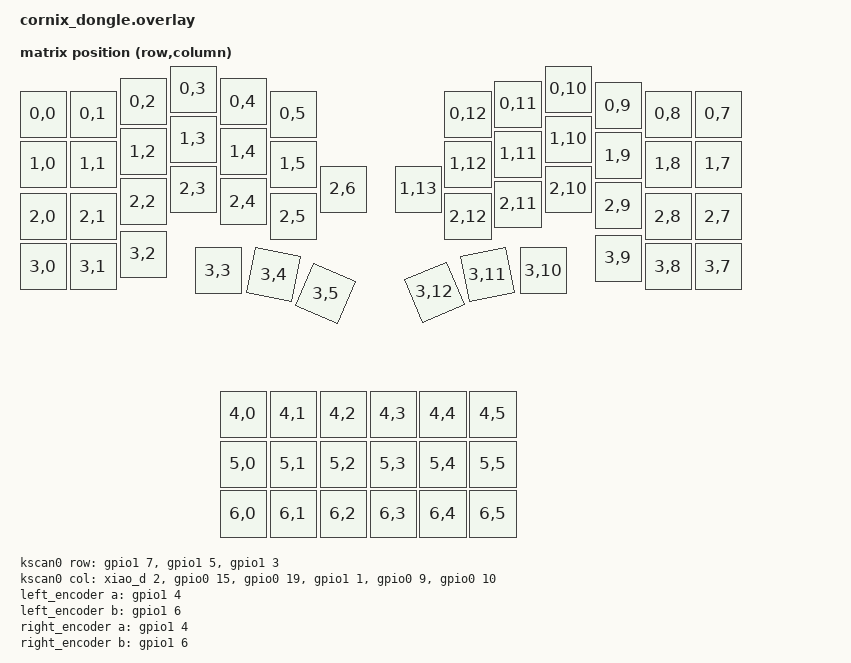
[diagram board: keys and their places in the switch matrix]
/*
 * Cornix dongle (XIAO nRF52840) central overlay.
 *
 * The dongle is the BLE split central and ALSO has 18 physical keys
 * (3 rows x 6 cols). The two cornix halves are peripherals that report
 * keymap positions 0..49 (via the cornix board transform). This central
 * transform reproduces those 50 positions AND appends the 18 dongle keys
 * at positions 50..67 by scanning the local matrix with row-offset = 4.
 */

#include <dt-bindings/zmk/matrix_transform.h>
#include <physical_layouts.dtsi>

/ {
    chosen {
        zmk,kscan = &kscan0;
        zmk,physical-layout = &cornix_dongle_layout;
    };

    /* Dongle local 3x6 matrix. diode-direction col2row:
     *   columns are driven (outputs), rows are read (inputs, pull-down). */
    kscan0: kscan0 {
        compatible = "zmk,kscan-gpio-matrix";
        wakeup-source;
        diode-direction = "col2row";

        col-gpios
            = <&xiao_d  2 GPIO_ACTIVE_HIGH>   /* col0  D2    P0.28 */
            , <&gpio0  15 GPIO_ACTIVE_HIGH>   /* col1  P0.15       */
            , <&gpio0  19 GPIO_ACTIVE_HIGH>   /* col2  P0.19       */
            , <&gpio1   1 GPIO_ACTIVE_HIGH>   /* col3  P1.01       */
            , <&gpio0   9 GPIO_ACTIVE_HIGH>   /* col4  P0.09 (NFC1)*/
            , <&gpio0  10 GPIO_ACTIVE_HIGH>   /* col5  P0.10 (NFC2)*/
            ;

        row-gpios
            = <&gpio1   7 (GPIO_ACTIVE_HIGH | GPIO_PULL_DOWN)>  /* row0  P1.07 */
            , <&gpio1   5 (GPIO_ACTIVE_HIGH | GPIO_PULL_DOWN)>  /* row1  P1.05 */
            , <&gpio1   3 (GPIO_ACTIVE_HIGH | GPIO_PULL_DOWN)>  /* row2  P1.03 */
            ;
    };

    default_transform: keymap_transform {
        compatible = "zmk,matrix-transform";
        columns = <14>;
        rows = <7>;
        /* Dongle kscan reports rows 0..2; shift to rows 4..6 so its keys land
         * "below" the cornix halves at positions 50..67. */
        row-offset = <4>;

        map = <
//  ── cornix split halves : positions 0..49 (reported by peripherals) ──
RC(0,0) RC(0,1) RC(0,2) RC(0,3) RC(0,4) RC(0,5)                    RC(0,12) RC(0,11) RC(0,10) RC(0,9) RC(0,8) RC(0,7)
RC(1,0) RC(1,1) RC(1,2) RC(1,3) RC(1,4) RC(1,5)                    RC(1,12) RC(1,11) RC(1,10) RC(1,9) RC(1,8) RC(1,7)
RC(2,0) RC(2,1) RC(2,2) RC(2,3) RC(2,4) RC(2,5) RC(2,6)  RC(1,13)  RC(2,12) RC(2,11) RC(2,10) RC(2,9) RC(2,8) RC(2,7)
RC(3,0) RC(3,1) RC(3,2) RC(3,3) RC(3,4) RC(3,5)                    RC(3,12) RC(3,11) RC(3,10) RC(3,9) RC(3,8) RC(3,7)
//  ── dongle local 3x6 : positions 50..67 (scanned by this central) ──
RC(4,0) RC(4,1) RC(4,2) RC(4,3) RC(4,4) RC(4,5)
RC(5,0) RC(5,1) RC(5,2) RC(5,3) RC(5,4) RC(5,5)
RC(6,0) RC(6,1) RC(6,2) RC(6,3) RC(6,4) RC(6,5)
        >;
    };

    cornix_dongle_layout: cornix_dongle_layout {
        compatible = "zmk,physical-layout";
        display-name = "Cornix+Dongle";
        transform = <&default_transform>;

        keys  //                     w   h    x    y     rot    rx    ry
            // cornix halves (0..49) - copied from cornix layout_50
            = <&key_physical_attrs 100 100    0   50       0     0     0>
            , <&key_physical_attrs 100 100  100   50       0     0     0>
            , <&key_physical_attrs 100 100  200   25       0     0     0>
            , <&key_physical_attrs 100 100  300    0       0     0     0>
            , <&key_physical_attrs 100 100  400   25       0     0     0>
            , <&key_physical_attrs 100 100  500   50       0     0     0>
            , <&key_physical_attrs 100 100  850   50       0     0     0>
            , <&key_physical_attrs 100 100  950   30       0     0     0>
            , <&key_physical_attrs 100 100 1050    0       0     0     0>
            , <&key_physical_attrs 100 100 1150   33       0     0     0>
            , <&key_physical_attrs 100 100 1250   50       0     0     0>
            , <&key_physical_attrs 100 100 1350   50       0     0     0>
            , <&key_physical_attrs 100 100    0  150       0     0     0>
            , <&key_physical_attrs 100 100  100  150       0     0     0>
            , <&key_physical_attrs 100 100  200  125       0     0     0>
            , <&key_physical_attrs 100 100  300  100       0     0     0>
            , <&key_physical_attrs 100 100  400  125       0     0     0>
            , <&key_physical_attrs 100 100  500  150       0     0     0>
            , <&key_physical_attrs 100 100  850  150       0     0     0>
            , <&key_physical_attrs 100 100  950  130       0     0     0>
            , <&key_physical_attrs 100 100 1050  100       0     0     0>
            , <&key_physical_attrs 100 100 1150  133       0     0     0>
            , <&key_physical_attrs 100 100 1250  150       0     0     0>
            , <&key_physical_attrs 100 100 1350  150       0     0     0>
            , <&key_physical_attrs 100 100    0  255       0     0     0>
            , <&key_physical_attrs 100 100  100  255       0     0     0>
            , <&key_physical_attrs 100 100  200  225       0     0     0>
            , <&key_physical_attrs 100 100  300  200       0     0     0>
            , <&key_physical_attrs 100 100  400  225       0     0     0>
            , <&key_physical_attrs 100 100  500  255       0     0     0>
            , <&key_physical_attrs 100 100  600  200       0     0     0>
            , <&key_physical_attrs 100 100  750  200       0     0     0>
            , <&key_physical_attrs 100 100  850  255       0     0     0>
            , <&key_physical_attrs 100 100  950  230       0     0     0>
            , <&key_physical_attrs 100 100 1050  200       0     0     0>
            , <&key_physical_attrs 100 100 1150  233       0     0     0>
            , <&key_physical_attrs 100 100 1250  255       0     0     0>
            , <&key_physical_attrs 100 100 1350  255       0     0     0>
            , <&key_physical_attrs 100 100    0  355       0     0     0>
            , <&key_physical_attrs 100 100  100  355       0     0     0>
            , <&key_physical_attrs 100 100  200  330       0     0     0>
            , <&key_physical_attrs 100 100  350  363       0     0     0>
            , <&key_physical_attrs 100 100  450  370    1193   500   475>
            , <&key_physical_attrs 100 100  550  365    2300   500   475>
            , <&key_physical_attrs 100 100  764  538 (-2300)   500   475>
            , <&key_physical_attrs 100 100  900  375 (-1193)   925   475>
            , <&key_physical_attrs 100 100 1000  363       0     0     0>
            , <&key_physical_attrs 100 100 1150  338       0     0     0>
            , <&key_physical_attrs 100 100 1250  355       0     0     0>
            , <&key_physical_attrs 100 100 1350  355       0     0     0>
            // dongle 3x6 grid (50..67), placed below the cornix
            , <&key_physical_attrs 100 100  400  650       0     0     0>
            , <&key_physical_attrs 100 100  500  650       0     0     0>
            , <&key_physical_attrs 100 100  600  650       0     0     0>
            , <&key_physical_attrs 100 100  700  650       0     0     0>
            , <&key_physical_attrs 100 100  800  650       0     0     0>
            , <&key_physical_attrs 100 100  900  650       0     0     0>
            , <&key_physical_attrs 100 100  400  750       0     0     0>
            , <&key_physical_attrs 100 100  500  750       0     0     0>
            , <&key_physical_attrs 100 100  600  750       0     0     0>
            , <&key_physical_attrs 100 100  700  750       0     0     0>
            , <&key_physical_attrs 100 100  800  750       0     0     0>
            , <&key_physical_attrs 100 100  900  750       0     0     0>
            , <&key_physical_attrs 100 100  400  850       0     0     0>
            , <&key_physical_attrs 100 100  500  850       0     0     0>
            , <&key_physical_attrs 100 100  600  850       0     0     0>
            , <&key_physical_attrs 100 100  700  850       0     0     0>
            , <&key_physical_attrs 100 100  800  850       0     0     0>
            , <&key_physical_attrs 100 100  900  850       0     0     0>
            ;
    };

    /*
     * Encoder sensors live on the cornix halves (peripherals). The central
     * must declare the same 2-sensor keymap-sensors list so that peripheral
     * sensor events map to sensor-bindings index 0 (left) and 1 (right).
     * These nodes are disabled here (the central does not scan them).
     */
    left_encoder: left_encoder {
        compatible = "alps,ec11";
        a-gpios = <&gpio1 4 (GPIO_ACTIVE_HIGH | GPIO_PULL_UP)>;
        b-gpios = <&gpio1 6 (GPIO_ACTIVE_HIGH | GPIO_PULL_UP)>;
        steps = <80>;
        status = "disabled";
    };

    right_encoder: right_encoder {
        compatible = "alps,ec11";
        a-gpios = <&gpio1 4 (GPIO_ACTIVE_HIGH | GPIO_PULL_UP)>;
        b-gpios = <&gpio1 6 (GPIO_ACTIVE_HIGH | GPIO_PULL_UP)>;
        steps = <80>;
        status = "disabled";
    };

    sensors: sensors {
        compatible = "zmk,keymap-sensors";
        sensors = <&left_encoder &right_encoder>;
        triggers-per-rotation = <20>;
    };
};

/* P0.09 / P0.10 are the nRF52840 NFC pins; free them for GPIO matrix use. */
&uicr {
    nfct-pins-as-gpios;
};

